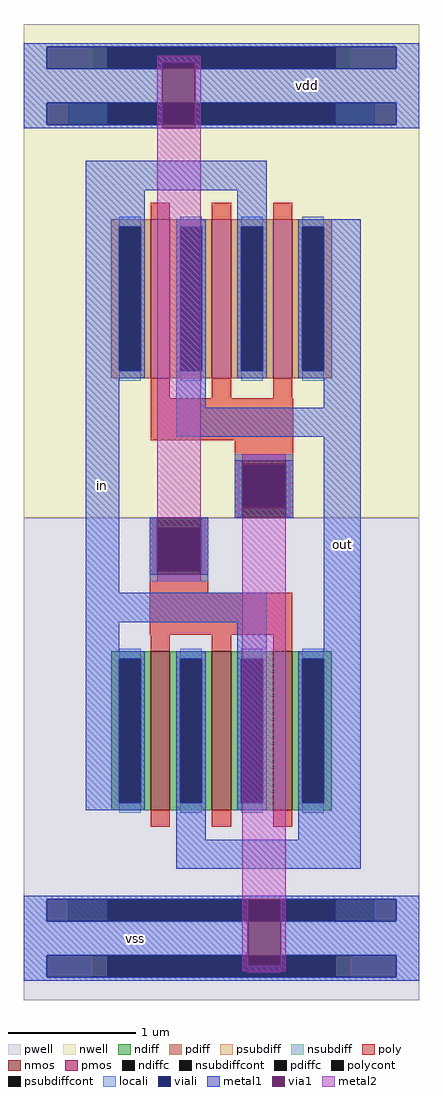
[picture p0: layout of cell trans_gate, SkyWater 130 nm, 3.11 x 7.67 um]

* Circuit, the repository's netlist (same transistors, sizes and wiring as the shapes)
**.subckt trans_gate vss in out vdd
*.iopin vss
*.ipin in
*.opin out
*.iopin vdd
XM2 out vss in vdd sky130_fd_pr__pfet_01v8 L=0.15 W=1.25 nf=1 ad='int((nf+1)/2) * W/nf * 0.29' as='int((nf+2)/2) * W/nf * 0.29'
+ pd='2*int((nf+1)/2) * (W/nf + 0.29)' ps='2*int((nf+2)/2) * (W/nf + 0.29)' nrd='0.29 / W' nrs='0.29 / W'
+ sa=0 sb=0 sd=0 mult=3 m=3 
XM1 out vdd in vss sky130_fd_pr__nfet_01v8 L=0.15 W=1.25 nf=1 ad='int((nf+1)/2) * W/nf * 0.29' as='int((nf+2)/2) * W/nf * 0.29'
+ pd='2*int((nf+1)/2) * (W/nf + 0.29)' ps='2*int((nf+2)/2) * (W/nf + 0.29)' nrd='0.29 / W' nrs='0.29 / W'
+ sa=0 sb=0 sd=0 mult=3 m=3 
**.ends
** flattened .save nodes
.end

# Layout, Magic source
magic
tech sky130A
magscale 1 2
<< nwell >>
rect -53 635 569 723
rect -53 -53 569 -47
<< pwell >>
rect -53 -64 569 -53
rect -53 -811 569 -723
<< psubdiff >>
rect 55 -775 79 -741
rect 437 -775 461 -741
<< nsubdiff >>
rect 55 653 79 687
rect 437 653 461 687
<< psubdiffcont >>
rect 79 -775 437 -741
<< nsubdiffcont >>
rect 79 653 437 687
<< poly >>
rect 147 69 371 135
rect 279 31 371 69
rect 279 -37 291 31
rect 359 -37 371 31
rect 279 -53 371 -37
rect 145 -69 237 -53
rect 145 -137 157 -69
rect 225 -137 237 -69
rect 145 -171 237 -137
rect 145 -237 369 -171
<< polycont >>
rect 291 -37 359 31
rect 157 -137 225 -69
<< locali >>
rect 279 31 371 47
rect 279 -37 291 31
rect 359 -37 371 31
rect 279 -53 371 -37
rect 145 -69 237 -53
rect 145 -137 157 -69
rect 225 -137 237 -69
rect 145 -153 237 -137
<< viali >>
rect -17 653 79 687
rect 79 653 437 687
rect 437 653 533 687
rect -17 565 533 599
rect 291 -37 359 31
rect 157 -137 225 -69
rect -17 -687 533 -653
rect -17 -775 79 -741
rect 79 -775 437 -741
rect 437 -775 533 -741
<< metal1 >>
rect -53 687 569 693
rect -53 653 -17 687
rect 533 653 569 687
rect -53 599 165 653
rect 217 599 569 653
rect -53 565 -17 599
rect 533 565 569 599
rect -53 559 165 565
rect 217 559 569 565
rect 45 462 329 508
rect 45 404 137 462
rect 283 404 329 462
rect 45 -171 97 404
rect 425 183 477 416
rect 187 120 233 178
rect 419 120 477 183
rect 187 74 477 120
rect 279 -53 291 37
rect 359 -53 371 37
rect 145 -143 157 -53
rect 225 -143 237 -53
rect 45 -217 329 -171
rect 45 -341 97 -217
rect 283 -263 329 -217
rect 45 -513 91 -341
rect 419 -343 477 74
rect 425 -455 477 -343
rect 419 -501 477 -455
rect 187 -559 233 -513
rect 379 -559 477 -501
rect 187 -605 477 -559
rect -53 -653 569 -647
rect -53 -687 -17 -653
rect 533 -687 569 -653
rect -53 -741 299 -687
rect 351 -741 569 -687
rect -53 -775 -17 -741
rect 533 -775 569 -741
rect -53 -781 569 -775
<< via1 >>
rect 165 653 217 663
rect 165 599 217 653
rect 165 565 217 599
rect 165 559 217 565
rect 291 31 359 37
rect 291 -37 359 31
rect 291 -53 359 -37
rect 157 -69 225 -53
rect 157 -137 225 -69
rect 157 -143 225 -137
rect 299 -687 351 -653
rect 299 -741 351 -687
rect 299 -757 351 -741
<< metal2 >>
rect 157 663 225 673
rect 157 559 165 663
rect 217 559 225 663
rect 157 -53 225 559
rect 157 -153 225 -143
rect 291 37 359 47
rect 291 -653 359 -53
rect 291 -757 299 -653
rect 351 -757 359 -653
rect 291 -766 359 -757
rect 299 -767 351 -766
use sky130_fd_pr__pfet_01v8_4798MH  sky130_fd_pr__pfet_01v8_4798MH_0
transform 1 0 258 0 1 291
box -311 -338 311 344
use sky130_fd_pr__nfet_01v8_BHR94T  sky130_fd_pr__nfet_01v8_BHR94T_0
transform 1 0 258 0 1 -388
box -311 -335 311 324
<< labels >>
rlabel metal1 217 599 569 653 1 vdd
rlabel metal1 -53 -741 299 -687 1 vss
rlabel space 419 -605 477 416 1 out
rlabel space 45 -513 97 508 1 in
<< end >>

# cell sky130_fd_pr__pfet_01v8_4798MH: kit device sky130_fd_pr__pfet_01v8, w 1.25 l 0.15 m 1 nf 3 diffcov 100 polycov 100 guard 1 glc 1 grc 1 gtc 1 gbc 0 tbcov 100 rlcov 100 topc 1 botc 1 poverlap 0 doverlap 1 lmin 0.15 wmin 0.42 compatible {sky130_fd_pr__pfet_01v8 sky130_fd_pr__pfet_01v8_lvt sky130_fd_pr__pfet_01v8_hvt sky130_fd_pr__pfet_g5v0d10v5} full_metal 1 viasrc 100 viadrn 100 viagate 100 viagb 0 viagr 0 viagl 0 viagt 0

# cell sky130_fd_pr__nfet_01v8_BHR94T: kit device sky130_fd_pr__nfet_01v8, w 1.25 l 0.150 m 1 nf 3 diffcov 100 polycov 100 guard 1 glc 1 grc 1 gtc 1 gbc 1 tbcov 100 rlcov 100 topc 1 botc 1 poverlap 0 doverlap 1 lmin 0.15 wmin 0.42 compatible {sky130_fd_pr__nfet_01v8 sky130_fd_pr__nfet_01v8_lvt sky130_fd_bs_flash__special_sonosfet_star sky130_fd_pr__nfet_g5v0d10v5 sky130_fd_pr__nfet_05v0_nvt sky130_fd_pr__nfet_03v3_nvt} full_metal 1 viasrc 100 viadrn 100 viagate 100 viagb 0 viagr 0 viagl 0 viagt 0
